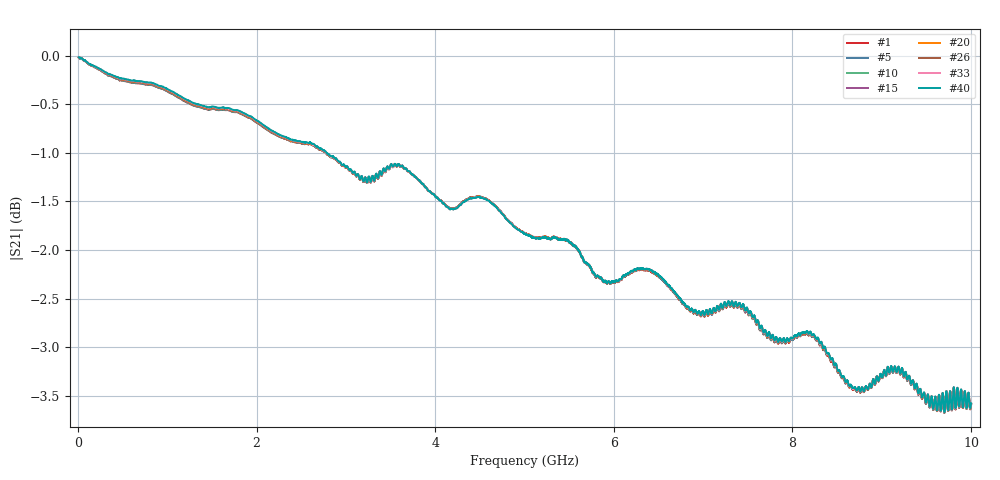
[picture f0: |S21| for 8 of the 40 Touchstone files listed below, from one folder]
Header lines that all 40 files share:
!Keysight Technologies,E5080B,MY59205177,A.15.75.32
!Correction: S11(Cdelta 2-Port  )
!S21(Cdelta 2-Port  )
!S12(Cdelta 2-Port  )
!S22(Cdelta 2-Port  )
!S2P File: Measurements: S11, S21, S12, S22:
# Hz S  dB  R 50
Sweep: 10 MHz to 10 GHz
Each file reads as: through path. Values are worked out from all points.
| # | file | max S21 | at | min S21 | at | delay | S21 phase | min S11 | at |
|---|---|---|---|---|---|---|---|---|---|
| 1 | 1.s2p | -0.02 dB | 14 MHz | -3.7 dB | 9.701 GHz | 565 ps | 81 deg at 5.005 GHz | -58.9 dB | 3.634 GHz |
| 2 | 2.s2p | -0.02 dB | 10 MHz | -3.7 dB | 9.701 GHz | 565 ps | 81 deg at 5.005 GHz | -58.1 dB | 3.634 GHz |
| 3 | 3.s2p | -0.02 dB | 10 MHz | -3.7 dB | 9.701 GHz | 565 ps | 81 deg at 5.005 GHz | -57.6 dB | 3.634 GHz |
| 4 | 4.s2p | -0.02 dB | 10 MHz | -3.7 dB | 9.701 GHz | 565 ps | 81 deg at 5.005 GHz | -57.1 dB | 3.634 GHz |
| 5 | 5.s2p | -0.02 dB | 10 MHz | -3.7 dB | 9.701 GHz | 565 ps | 81 deg at 5.005 GHz | -57.3 dB | 3.634 GHz |
| 6 | 6.s2p | -0.02 dB | 10 MHz | -3.7 dB | 9.701 GHz | 565 ps | 80 deg at 5.005 GHz | -57.4 dB | 3.634 GHz |
| 7 | 7.s2p | -0.02 dB | 10 MHz | -3.7 dB | 9.701 GHz | 565 ps | 80 deg at 5.005 GHz | -57.0 dB | 3.634 GHz |
| 8 | 8.s2p | -0.02 dB | 14 MHz | -3.7 dB | 9.701 GHz | 565 ps | 81 deg at 5.005 GHz | -56.6 dB | 3.634 GHz |
| 9 | 9.s2p | -0.02 dB | 14 MHz | -3.7 dB | 9.701 GHz | 565 ps | 81 deg at 5.005 GHz | -56.7 dB | 3.634 GHz |
| 10 | 10.s2p | -0.02 dB | 10 MHz | -3.7 dB | 9.701 GHz | 565 ps | 81 deg at 5.005 GHz | -56.3 dB | 3.634 GHz |
| 11 | 11.s2p | -0.02 dB | 10 MHz | -3.7 dB | 9.701 GHz | 565 ps | 81 deg at 5.005 GHz | -56.0 dB | 3.634 GHz |
| 12 | 12.s2p | -0.02 dB | 10 MHz | -3.7 dB | 9.701 GHz | 565 ps | 81 deg at 5.005 GHz | -55.8 dB | 3.634 GHz |
| 13 | 13.s2p | -0.02 dB | 14 MHz | -3.7 dB | 9.701 GHz | 565 ps | 81 deg at 5.005 GHz | -55.8 dB | 3.634 GHz |
| 14 | 14.s2p | -0.02 dB | 14 MHz | -3.7 dB | 9.701 GHz | 565 ps | 81 deg at 5.005 GHz | -55.2 dB | 3.634 GHz |
| 15 | 15.s2p | -0.02 dB | 14 MHz | -3.7 dB | 9.701 GHz | 565 ps | 81 deg at 5.005 GHz | -55.5 dB | 3.634 GHz |
| 16 | 16.s2p | -0.02 dB | 14 MHz | -3.7 dB | 9.701 GHz | 565 ps | 81 deg at 5.005 GHz | -55.4 dB | 3.634 GHz |
| 17 | 17.s2p | -0.02 dB | 14 MHz | -3.7 dB | 9.701 GHz | 565 ps | 81 deg at 5.005 GHz | -55.2 dB | 3.633 GHz |
| 18 | 18.s2p | -0.02 dB | 10 MHz | -3.7 dB | 9.701 GHz | 565 ps | 81 deg at 5.005 GHz | -55.3 dB | 3.633 GHz |
| 19 | 19.s2p | -0.02 dB | 10 MHz | -3.7 dB | 9.701 GHz | 565 ps | 81 deg at 5.005 GHz | -54.8 dB | 3.633 GHz |
| 20 | 20.s2p | -0.02 dB | 10 MHz | -3.7 dB | 9.701 GHz | 565 ps | 81 deg at 5.005 GHz | -55.2 dB | 3.633 GHz |
| 21 | 21.s2p | -0.02 dB | 10 MHz | -3.7 dB | 9.701 GHz | 565 ps | 81 deg at 5.005 GHz | -54.8 dB | 3.633 GHz |
| 22 | 22.s2p | -0.02 dB | 14 MHz | -3.7 dB | 9.701 GHz | 565 ps | 81 deg at 5.005 GHz | -55.1 dB | 3.633 GHz |
| 23 | 23.s2p | -0.02 dB | 14 MHz | -3.7 dB | 9.701 GHz | 565 ps | 80 deg at 5.005 GHz | -54.7 dB | 3.633 GHz |
| 24 | 24.s2p | -0.02 dB | 14 MHz | -3.7 dB | 9.701 GHz | 565 ps | 80 deg at 5.005 GHz | -54.8 dB | 3.633 GHz |
| 25 | 25.s2p | -0.02 dB | 10 MHz | -3.7 dB | 9.701 GHz | 565 ps | 80 deg at 5.005 GHz | -54.8 dB | 3.633 GHz |
| 26 | 26.s2p | -0.02 dB | 10 MHz | -3.7 dB | 9.701 GHz | 565 ps | 80 deg at 5.005 GHz | -54.6 dB | 3.633 GHz |
| 27 | 27.s2p | -0.02 dB | 14 MHz | -3.7 dB | 9.701 GHz | 565 ps | 80 deg at 5.005 GHz | -55.1 dB | 3.633 GHz |
| 28 | 28.s2p | -0.02 dB | 14 MHz | -3.7 dB | 9.701 GHz | 565 ps | 80 deg at 5.005 GHz | -54.6 dB | 3.633 GHz |
| 29 | 29.s2p | -0.02 dB | 14 MHz | -3.7 dB | 9.701 GHz | 565 ps | 80 deg at 5.005 GHz | -54.7 dB | 3.633 GHz |
| 30 | 30.s2p | -0.02 dB | 14 MHz | -3.7 dB | 9.701 GHz | 565 ps | 80 deg at 5.005 GHz | -54.9 dB | 3.633 GHz |
| 31 | 31.s2p | -0.02 dB | 10 MHz | -3.7 dB | 9.701 GHz | 565 ps | 80 deg at 5.005 GHz | -54.5 dB | 3.633 GHz |
| 32 | 32.s2p | -0.02 dB | 14 MHz | -3.7 dB | 9.701 GHz | 565 ps | 80 deg at 5.005 GHz | -54.8 dB | 3.633 GHz |
| 33 | 33.s2p | -0.02 dB | 14 MHz | -3.7 dB | 9.701 GHz | 565 ps | 80 deg at 5.005 GHz | -54.4 dB | 3.633 GHz |
| 34 | 34.s2p | -0.02 dB | 10 MHz | -3.7 dB | 9.701 GHz | 565 ps | 80 deg at 5.005 GHz | -54.3 dB | 3.633 GHz |
| 35 | 35.s2p | -0.02 dB | 10 MHz | -3.7 dB | 9.701 GHz | 565 ps | 80 deg at 5.005 GHz | -54.4 dB | 3.633 GHz |
| 36 | 36.s2p | -0.01 dB | 10 MHz | -3.7 dB | 9.701 GHz | 565 ps | 80 deg at 5.005 GHz | -53.9 dB | 3.633 GHz |
| 37 | 37.s2p | -0.02 dB | 14 MHz | -3.7 dB | 9.701 GHz | 565 ps | 80 deg at 5.005 GHz | -54.6 dB | 3.633 GHz |
| 38 | 38.s2p | -0.02 dB | 14 MHz | -3.7 dB | 9.701 GHz | 565 ps | 80 deg at 5.005 GHz | -54.1 dB | 3.633 GHz |
| 39 | 39.s2p | -0.02 dB | 14 MHz | -3.7 dB | 9.701 GHz | 565 ps | 80 deg at 5.005 GHz | -54.1 dB | 3.633 GHz |
| 40 | 40.s2p | -0.02 dB | 10 MHz | -3.7 dB | 9.701 GHz | 565 ps | 80 deg at 5.005 GHz | -54.0 dB | 3.633 GHz |
